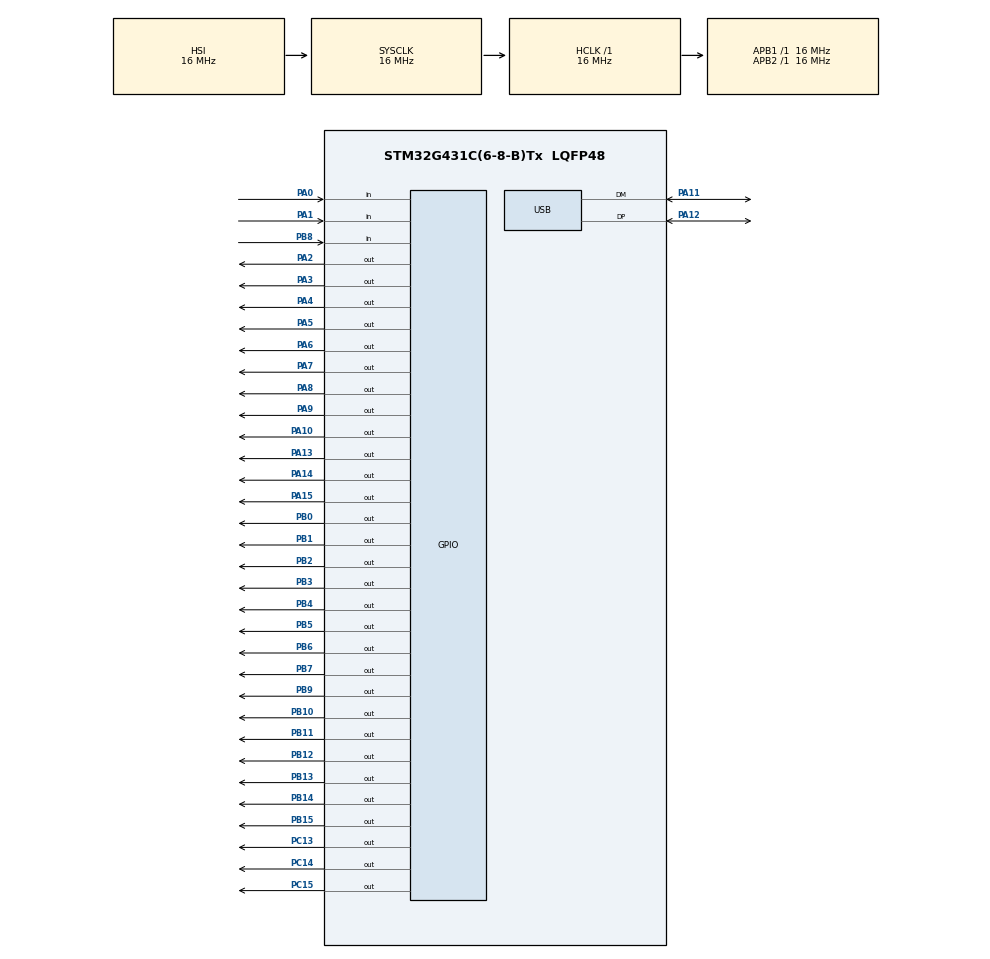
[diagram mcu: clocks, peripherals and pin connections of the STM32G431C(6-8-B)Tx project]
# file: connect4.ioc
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Mcu.Family=STM32G4
Mcu.Name=STM32G431C(6-8-B)Tx
Mcu.Package=LQFP48
NVIC.PriorityGroup=NVIC_PRIORITYGROUP_4
PA0.Signal=GPIO_Input
PA1.Signal=GPIO_Input
PA10.Signal=GPIO_Output
PA11.Mode=Device
PA11.Signal=USB_DM
PA12.Mode=Device
PA12.Signal=USB_DP
PA13.Signal=GPIO_Output
PA14.Signal=GPIO_Output
PA15.Signal=GPIO_Output
PA2.Signal=GPIO_Output
PA3.Signal=GPIO_Output
PA4.Signal=GPIO_Output
PA5.Signal=GPIO_Output
PA6.Signal=GPIO_Output
PA7.Signal=GPIO_Output
PA8.Signal=GPIO_Output
PA9.Signal=GPIO_Output
PB0.Signal=GPIO_Output
PB1.Signal=GPIO_Output
PB10.Signal=GPIO_Output
PB11.Signal=GPIO_Output
PB12.Signal=GPIO_Output
PB13.Signal=GPIO_Output
PB14.Signal=GPIO_Output
PB15.Signal=GPIO_Output
PB2.Signal=GPIO_Output
PB3.Signal=GPIO_Output
PB4.Signal=GPIO_Output
PB5.Signal=GPIO_Output
PB6.Signal=GPIO_Output
PB7.Signal=GPIO_Output
PB8-BOOT0.Signal=GPIO_Input
PB9.Signal=GPIO_Output
PC13.Signal=GPIO_Output
PC14-OSC32_IN.Signal=GPIO_Output
PC15-OSC32_OUT.Signal=GPIO_Output
ProjectManager.HeapSize=0x200
ProjectManager.StackSize=0x400
ProjectManager.TargetToolchain=STM32CubeIDE
RCC.AHBFreq_Value=16000000
RCC.APB1Freq_Value=16000000
RCC.APB1TimFreq_Value=16000000
RCC.APB2Freq_Value=16000000
RCC.APB2TimFreq_Value=16000000
RCC.CortexFreq_Value=16000000
RCC.EXTERNAL_CLOCK_VALUE=12288000
RCC.HCLKFreq_Value=16000000
RCC.HSE_VALUE=8000000
RCC.HSI48_VALUE=48000000
RCC.HSI_VALUE=16000000
RCC.LSE_VALUE=32768
RCC.PLLN=12
RCC.PLLQ=RCC_PLLQ_DIV4
RCC.SYSCLKFreq_VALUE=16000000
RCC.USBFreq_Value=48000000
RCC.VCOOutputFreq_Value=192000000
VP_SYS_VS_DBSignals.Mode=DisableDeadBatterySignals
board=custom

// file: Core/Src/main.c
/* USER CODE BEGIN Header */
/**
  ******************************************************************************
  * @file           : main.c
  * @brief          : Main program body
  ******************************************************************************
  * @attention
  *
  * Copyright (c) 2025 STMicroelectronics.
  * All rights reserved.
  *
  * This software is licensed under terms that can be found in the LICENSE file
  * in the root directory of this software component.
  * If no LICENSE file comes with this software, it is provided AS-IS.
  *
  ******************************************************************************
  */
/* USER CODE END Header */
#include "main.h"
#include <stdint.h>
#include <stdbool.h>

/* USER CODE BEGIN Includes */
#include "core_cm4.h"
/* USER CODE END Includes */

PCD_HandleTypeDef hpcd_USB_FS;

/* USER CODE BEGIN PV */
#define LED_ROWS			6
#define LED_COLS			7
#define LED_COUNT			(LED_ROWS * LED_COLS)

typedef enum _led_mode {
	LED_OFF,
	LED_PLAYER1,
	LED_PLAYER2,
	LED_BOTH
} ledMode_t;

typedef enum _game_state {
	GAME_INIT,
	GAME_PLAYER1,
	GAME_PLAYER2,
	GAME_WIN_PLAYER1,
	GAME_WIN_PLAYER2,
	GAME_DRAW
} gameState_t;

typedef struct _col_driver {
	GPIO_TypeDef* dat2Port;
	GPIO_TypeDef* dat1Port;
	GPIO_TypeDef* clk2Port;
	GPIO_TypeDef* clk1Port;
	uint16_t dat1Pin;
	uint16_t dat2Pin;
	uint16_t clk1Pin;
	uint16_t clk2Pin;
} colDriver_t;

typedef struct _pos {
	uint8_t col;
	uint8_t row;
} pos_t;

#define HUMAN_PLAYER		LED_PLAYER1
#define COMPUTER_PLAYER		LED_PLAYER2

ledMode_t leds[LED_COUNT] = {0};
colDriver_t column_drivers[LED_COLS] = {0};

pos_t winning_pieces[7];
uint8_t winning_pieces_count = 0;

const int8_t ROW_DELTA[] = {-1, -1, 0, 1};
const int8_t COL_DELTA[] = {0, 1, 1, 1};
/* USER CODE END PV */

void SystemClock_Config(void);
static void MX_GPIO_Init(void);
static void MX_USB_PCD_Init(void);

/* USER CODE BEGIN 0 */

static void driver_init()
{
	// Column 1
	// Ports
	column_drivers[0].clk1Port = GPIOA;
	column_drivers[0].dat1Port = GPIOA;
	column_drivers[0].clk2Port = GPIOA;
	column_drivers[0].dat2Port = GPIOA;
	// Pins
	column_drivers[0].clk1Pin = GPIO_PIN_4;
	column_drivers[0].dat1Pin = GPIO_PIN_5;
	column_drivers[0].clk2Pin = GPIO_PIN_6;
	column_drivers[0].dat2Pin = GPIO_PIN_7;

	// Column 2
	// Ports
	column_drivers[1].clk1Port = GPIOB;
	column_drivers[1].dat1Port = GPIOB;
	column_drivers[1].clk2Port = GPIOB;
	column_drivers[1].dat2Port = GPIOB;
	// Pins
	column_drivers[1].clk1Pin = GPIO_PIN_0;
	column_drivers[1].dat1Pin = GPIO_PIN_1;
	column_drivers[1].clk2Pin = GPIO_PIN_2;
	column_drivers[1].dat2Pin = GPIO_PIN_10;

	// Column 3
	// Ports
	column_drivers[2].clk1Port = GPIOB;
	column_drivers[2].dat1Port = GPIOB;
	column_drivers[2].clk2Port = GPIOB;
	column_drivers[2].dat2Port = GPIOB;
	// Pins
	column_drivers[2].clk1Pin = GPIO_PIN_11;
	column_drivers[2].dat1Pin = GPIO_PIN_12;
	column_drivers[2].clk2Pin = GPIO_PIN_13;
	column_drivers[2].dat2Pin = GPIO_PIN_14;

	// Column 4
	// Ports
	column_drivers[3].clk1Port = GPIOB;
	column_drivers[3].dat1Port = GPIOA;
	column_drivers[3].clk2Port = GPIOA;
	column_drivers[3].dat2Port = GPIOA;
	// Pins
	column_drivers[3].clk1Pin = GPIO_PIN_15;
	column_drivers[3].dat1Pin = GPIO_PIN_8;
	column_drivers[3].clk2Pin = GPIO_PIN_9;
	column_drivers[3].dat2Pin = GPIO_PIN_10;

	// Column 5
	// Ports
	column_drivers[4].clk1Port = GPIOA;
	column_drivers[4].dat1Port = GPIOA;
	column_drivers[4].clk2Port = GPIOA;
	column_drivers[4].dat2Port = GPIOB;
	// Pins
	column_drivers[4].clk1Pin = GPIO_PIN_13;
	column_drivers[4].dat1Pin = GPIO_PIN_14;
	column_drivers[4].clk2Pin = GPIO_PIN_15;
	column_drivers[4].dat2Pin = GPIO_PIN_3;

	// Column 6
	// Ports
	column_drivers[5].clk1Port = GPIOB;
	column_drivers[5].dat1Port = GPIOB;
	column_drivers[5].clk2Port = GPIOB;
	column_drivers[5].dat2Port = GPIOB;
	// Pins
	column_drivers[5].clk1Pin = GPIO_PIN_4;
	column_drivers[5].dat1Pin = GPIO_PIN_5;
	column_drivers[5].clk2Pin = GPIO_PIN_6;
	column_drivers[5].dat2Pin = GPIO_PIN_7;

	// Column 7
	// Ports
	column_drivers[6].clk1Port = GPIOB;
	column_drivers[6].dat1Port = GPIOC;
	column_drivers[6].clk2Port = GPIOC;
	column_drivers[6].dat2Port = GPIOC;
	// Pins
	column_drivers[6].clk1Pin = GPIO_PIN_9;
	column_drivers[6].dat1Pin = GPIO_PIN_13;
	column_drivers[6].clk2Pin = GPIO_PIN_14;
	column_drivers[6].dat2Pin = GPIO_PIN_15;
//
//	// Set all clocks to HIGH
//	for (uint8_t col = 0; col < LED_COLS; col++) {
//		HAL_GPIO_TogglePin(column_drivers[col].clk1Port, column_drivers[col].clk1Pin);
//		HAL_GPIO_TogglePin(column_drivers[col].clk2Port, column_drivers[col].clk2Pin);
//	}

	// Set the ENABLE line to high
	HAL_GPIO_WritePin(GPIOA, GPIO_PIN_3, GPIO_PIN_SET);
}

static void output_col(uint8_t col_no)
{
	colDriver_t driver = column_drivers[col_no];

	uint8_t row = 0;

	for (; row < LED_ROWS; row++) {
		// Set the data then pulse the clock
		ledMode_t p1stat = leds[row * LED_COLS + col_no];
		ledMode_t p2stat = leds[((LED_ROWS - 1) - row) * LED_COLS + col_no];

		// No output for either
		HAL_GPIO_WritePin(driver.dat1Port, driver.dat1Pin, p1stat == LED_PLAYER1);
		HAL_GPIO_WritePin(driver.dat2Port, driver.dat2Pin, p2stat == LED_PLAYER2);

		HAL_GPIO_TogglePin(driver.clk1Port, driver.clk1Pin);
		HAL_GPIO_TogglePin(driver.clk2Port, driver.clk2Pin);

		HAL_GPIO_TogglePin(driver.clk1Port, driver.clk1Pin);
		HAL_GPIO_TogglePin(driver.clk2Port, driver.clk2Pin);
	}

	while (row++ <= 8) {

		HAL_GPIO_TogglePin(driver.clk1Port, driver.clk1Pin);
		HAL_GPIO_TogglePin(driver.clk2Port, driver.clk2Pin);

		HAL_GPIO_TogglePin(driver.clk1Port, driver.clk1Pin);
		HAL_GPIO_TogglePin(driver.clk2Port, driver.clk2Pin);
	}
}

void place_piece(ledMode_t player, uint8_t col_no)
{
	if (col_no >= LED_COLS) {
		return;
	}

	// Start at row 0 and increment until there is already a piece
	uint8_t row = 0;

	for (; row < LED_ROWS; row++) {
		ledMode_t state = leds[row * LED_COLS + col_no];

		if (state != LED_OFF) {
			break;
		} else if (row > 0) {
			// Remove previous LED
			leds[(row - 1) * LED_COLS + col_no] = LED_OFF;
		}

		leds[row * LED_COLS + col_no] = player;

		// Update column
		output_col(col_no);

		HAL_Delay(500);
	}
}

int8_t get_next_row(uint8_t col)
{
	int8_t row = (LED_ROWS - 1);

	for (; row >= 0; row--) {
		if (leds[row * LED_COLS + col] == LED_OFF) {
			break;
		}
	}
	return row;
}

void set_winning_pieces(ledMode_t player, uint8_t col) {
	// We need to find the direction of the winning pieces
	uint8_t max = 0;
	uint8_t dir_pos = 0;

	int8_t row = get_next_row(col);

	if (row < 0) {
		row = 0;
	} else if (row < (LED_ROWS - 1)) {
		row++;
	}

	for (uint8_t dir = 0; dir < sizeof(ROW_DELTA); dir++) {
		int8_t dRow = ROW_DELTA[dir];
		int8_t dCol = COL_DELTA[dir];

		int8_t currRow = row + dRow;
		int8_t currCol = col + dCol;

		// Loop until last matching piece
		while ((currRow < LED_ROWS) && (currRow >= 0) &&
			   (currCol < LED_COLS) && (currCol >= 0)) {
			if (leds[currRow * LED_COLS + currCol] != player) {
				break;
			}

			currRow += dRow;
			currCol += dCol;
		}

		// Decrease currRow & currCol to last known position
		currRow -= dRow;
		currCol -= dCol;

		dRow = -dRow;
		dCol = -dCol;

		uint8_t continuous = 0;

		while ((currRow < LED_ROWS) && (currRow >= 0) &&
			   (currCol < LED_COLS) && (currCol >= 0)) {

			if (leds[currRow * LED_COLS + currCol] != player) {
				break;
			}

			continuous++;

			currRow += dRow;
			currCol += dCol;
		}

		if (continuous > max) {
			max = continuous;
			dir_pos = dir;
		}
	}

	int8_t dRow = ROW_DELTA[dir_pos];
	int8_t dCol = COL_DELTA[dir_pos];

	int8_t currRow = row + dRow;
	int8_t currCol = col + dCol;

	// Loop until last matching piece
	while ((currRow < LED_ROWS) && (currRow >= 0) &&
		   (currCol < LED_COLS) && (currCol >= 0)) {
		if (leds[currRow * LED_COLS + currCol] != player) {
			break;
		}

		currRow += dRow;
		currCol += dCol;
	}

	// Decrease currRow & currCol to last known position
	currRow -= dRow;
	currCol -= dCol;

	dRow = -dRow;
	dCol = -dCol;

	winning_pieces_count = 0;

	while ((currRow < LED_ROWS) && (currRow >= 0) &&
		   (currCol < LED_COLS) && (currCol >= 0)) {

		if (leds[currRow * LED_COLS + currCol] != player) {
			break;
		}

		winning_pieces[winning_pieces_count].col = currCol;
		winning_pieces[winning_pieces_count++].row = currRow;

		currRow += dRow;
		currCol += dCol;
	}
}

uint8_t eval_position(ledMode_t player, uint8_t col, uint8_t row) {
	ledMode_t opposite = (player == LED_PLAYER1) ? LED_PLAYER2 : LED_PLAYER1;

	uint8_t max = 0;

	for (uint8_t dir = 0; dir < sizeof(ROW_DELTA); dir++) {
		int8_t dRow = ROW_DELTA[dir];
		int8_t dCol = COL_DELTA[dir];

		int8_t currRow = row + dRow;
		int8_t currCol = col + dCol;

		// Loop until last matching piece
		while ((currRow < LED_ROWS) && (currRow >= 0) &&
			   (currCol < LED_COLS) && (currCol >= 0)) {
			if (leds[currRow * LED_COLS + currCol] == opposite) {
				break;
			}

			currRow += dRow;
			currCol += dCol;
		}

		// Decrease currRow & currCol to last known position
		currRow -=dRow;
		currCol -= dCol;

		dRow = -dRow;
		dCol = -dCol;

		uint8_t availCount = 0;
		uint8_t totalCount = 0;
		uint8_t continuous = 0;
		uint8_t maxContinuous = 0;

		while ((currRow < LED_ROWS) && (currRow >= 0) &&
			   (currCol < LED_COLS) && (currCol >= 0)) {

			ledMode_t mode = leds[currRow * LED_COLS + currCol];

			if (mode == opposite) {
				break;
			}

			totalCount++;

			if ((mode == player) || ((currRow == row) && (currCol == col))) {
				availCount++;
				if (++continuous > maxContinuous) {
					maxContinuous = continuous;
				}
			} else {
				// We need to check if this move is currently valid! Add an extra point if it is valid
				if (get_next_row(currCol) == currRow) {
					availCount++;
				}
				continuous = 0;
			}

			currRow += dRow;
			currCol += dCol;
		}

		availCount += (maxContinuous << 4);

		if ((totalCount >= 4) && (availCount > max)) {
			max = availCount;
		}
	}

	return max;
}

uint8_t eval_move(ledMode_t player, uint8_t col, uint8_t row)
{
	if ((col >= LED_COLS) || (row >= LED_ROWS)) {
		return 0;
	}

	ledMode_t opposition;

	if (player == LED_PLAYER1) {
		opposition = LED_PLAYER2;
	} else if (player == LED_PLAYER2) {
		opposition = LED_PLAYER1;
	} else {
		return 0;
	}

	uint8_t myScore = eval_position(player, col, row);
	uint8_t opScore = eval_position(opposition, col, row);

	if ((myScore >> 4) >= 4) {
		return 0xFF;
	} else if ((opScore >> 4) >= 4) {
		return 0xFE;
	} else if ((opScore >> 4) >= 2) {
		return myScore + opScore / 2;
	}

	return myScore;
}

uint8_t get_next_move()
{
	uint8_t max = 0;
	uint8_t sel_col = 3;

	for (uint8_t col = 0; col < LED_COLS; col++) {
		int8_t row = get_next_row(col);
		if (row < 0) {
			continue;
		}
		uint8_t val = eval_move(COMPUTER_PLAYER, col, row);
		if (val > max) {
			max = val;
			sel_col = col;
		} else if (val == max) {
			// Select the piece closest to the centre
			uint8_t centre = LED_COLS / 2;
			int8_t colDiff = centre - col;
			if (colDiff < 0) {
				colDiff = -colDiff;
			}
			int8_t selDiff = centre - sel_col;
			if (selDiff < 0) {
				selDiff = -selDiff;
			}
			if (colDiff < selDiff) {
				sel_col = col;
			}
		}
	}

	return sel_col;
}

bool has_won(uint8_t col, ledMode_t player)
{
	if (col >= LED_COLS) {
		return false;
	}

	int8_t row = get_next_row(col);

	if (row < 0) {
		row = 0;
	} else if (row < (LED_ROWS - 1)) {
		row++;
	}

	return (eval_position(player, col, row) >> 4) >= 4;
}

int8_t get_cursor()
{
	int8_t valid_col = -1;
	for (uint8_t col = 0; col < LED_COLS; col++) {
		// Check if the column has a valid number
		if (get_next_row(col) >= 0) {
			// Valid - choose if it is closer to the centre
			uint8_t centre = LED_COLS / 2;
			int8_t colDiff = centre - col;
			if (colDiff < 0) {
				colDiff = -colDiff;
			}
			int8_t selDiff = centre - valid_col;
			if (selDiff < 0) {
				selDiff = -selDiff;
			}

			if (colDiff == 0) {
				return col;
			} else if (colDiff < selDiff) {
				valid_col = col;
			}
		}
	}

	return valid_col;
}
/* USER CODE END 0 */

int main(void)
{

  /* MCU Configuration--------------------------------------------------------*/

  /* Reset of all peripherals, Initializes the Flash interface and the Systick. */
  HAL_Init();

  /* Configure the system clock */
  SystemClock_Config();

  /* Initialize all configured peripherals */
  MX_GPIO_Init();

  //  MX_USB_PCD_Init();
  /* USER CODE BEGIN 2 */

  driver_init();

//  colDriver_t driver = column_drivers[0];

  // Set the data
//  HAL_GPIO_WritePin(driver.dat1Port, driver.dat1Pin, 1);
//
//  HAL_Delay(1);
////  for (uint16_t i = 0; i < 1000; i++) {
////  	  NOP();
////  }
//
//  for (uint8_t i = 0; i < 17; i++) {
//	  // Toggle the clock
//	    HAL_GPIO_TogglePin(driver.clk1Port, driver.clk1Pin);
//	  //  for (uint16_t i = 0; i < 1000; i++) {
//	  //	  NOP();
//	  //  }
//	    HAL_Delay(1);
//  }

//  place_piece(LED_PLAYER1, 0);
//  place_piece(LED_PLAYER2, 0);
//  place_piece(LED_PLAYER1, 1);
//  place_piece(LED_PLAYER2, 1);
//  place_piece(LED_PLAYER1, 2);
//  place_piece(LED_PLAYER2, 2);
//  place_piece(LED_PLAYER1, 3);
//  place_piece(LED_PLAYER2, 3);
//  place_piece(LED_PLAYER1, 4);
//  place_piece(LED_PLAYER2, 4);
//  place_piece(LED_PLAYER1, 5);
//  place_piece(LED_PLAYER2, 5);
//  place_piece(LED_PLAYER1, 6);
//  place_piece(LED_PLAYER2, 6);

  uint32_t ticks = 0;

  uint8_t leftButtonCount = 0;
  uint8_t rightButtonCount = 0;
  uint8_t selectButtonCount = 0;

  gameState_t state = GAME_PLAYER1;

  int8_t blink_col = 3;
  int8_t prev_blink_col = 3;

  bool blink_on = true;

  /* USER CODE END 2 */

  /* Infinite loop */
  /* USER CODE BEGIN WHILE */

  while (ticks < (UINT32_MAX - 10))
  {
    /* USER CODE END WHILE */
	  GPIO_PinState leftButton = HAL_GPIO_ReadPin(GPIOA, GPIO_PIN_1);
	  GPIO_PinState rightButton = HAL_GPIO_ReadPin(GPIOA, GPIO_PIN_0);
	  GPIO_PinState selectButton = HAL_GPIO_ReadPin(GPIOB, GPIO_PIN_8);

	  if (leftButton == GPIO_PIN_SET) {
		  if (++leftButtonCount >= 2) {
			  leftButtonCount = 2;

			  leftButton = GPIO_PIN_RESET;
			  rightButton = GPIO_PIN_RESET;
			  selectButton = GPIO_PIN_RESET;
		  }
	  } else if (leftButtonCount > 0) {
		  if ((state == GAME_PLAYER1) && (--leftButtonCount == 0)) {
			  while (--blink_col >= 0) {
				  if (leds[blink_col] == LED_OFF) {
					  break;
				  }
			  }
			  if (blink_col < 0) {
				  blink_col = prev_blink_col;
			  } else {
				  // We have changed the blink column
				  // Clear previous blink
				  leds[prev_blink_col] = LED_OFF;
				  output_col(prev_blink_col);
				  prev_blink_col = blink_col;
			  }
		  }
	  }

	  if (rightButton == GPIO_PIN_SET) {
		  if (++rightButtonCount >= 2) {
			  rightButtonCount = 2;

			  leftButton = GPIO_PIN_RESET;
			  rightButton = GPIO_PIN_RESET;
			  selectButton = GPIO_PIN_RESET;
		  }
	  } else if (rightButtonCount > 0) {
		  if ((state == GAME_PLAYER1) && (--rightButtonCount == 0)) {
			  while (++blink_col < LED_COLS) {
				  if (leds[blink_col] == LED_OFF) {
					  break;
				  }
			  }
			  if (blink_col >= LED_COLS) {
				  blink_col = prev_blink_col;
			  } else {
				  // Clear previous blink
				  leds[prev_blink_col] = LED_OFF;
				  output_col(prev_blink_col);
				  prev_blink_col = blink_col;
			  }
		  }
	  }
	  if (selectButton == GPIO_PIN_SET) {

		  if (++selectButtonCount >= 2) {
			  selectButtonCount = 2;

			  leftButton = GPIO_PIN_RESET;
			  rightButton = GPIO_PIN_RESET;
			  selectButton = GPIO_PIN_RESET;
		  }
	  } else if (selectButtonCount > 0) {
		  if (--selectButtonCount == 0) {
			  if (state == GAME_WIN_PLAYER1 || state == GAME_WIN_PLAYER2) {
				  // Go back to start state
				  blink_col = 3;
				  prev_blink_col = 3;
				  for (uint8_t i = 0; i < LED_COUNT; i++) {
					  leds[i] = LED_OFF;
				  }
				  for (uint8_t i = 0; i < LED_COLS; i++) {
					  output_col(i);
				  }
				  state = GAME_PLAYER1;
				  winning_pieces_count = 0;
			  } else {
				  // Remove the blinking!!
				  leds[blink_col] = LED_OFF;
				  // Select the current column
				  place_piece(HUMAN_PLAYER, blink_col);

				  // Evaluate if the user has won
				  if (has_won(blink_col, HUMAN_PLAYER)) {
					  // We won
					  state = GAME_WIN_PLAYER1;
					  set_winning_pieces(HUMAN_PLAYER, blink_col);
				  } else {
					  // This is where the "computer" should make its move
					  uint8_t col = get_next_move();

					  place_piece(COMPUTER_PLAYER, col);

					  // Evaluate if the computer has won
					  if (has_won(col, COMPUTER_PLAYER)) {
						  // Computer has won
						  state = GAME_WIN_PLAYER2;
						  set_winning_pieces(COMPUTER_PLAYER, col);
					  } else {
						  // Check where the 'cursor' should be
						  int8_t cursor_pos = get_cursor();

						  if (cursor_pos < 0) {
							  // We have a tie
							  // Set the STAT LED
//							  HAL_GPIO_WritePin(GPIOB)	``
						  } else {
							  blink_col = cursor_pos;
							  prev_blink_col = cursor_pos;
						  }
					  }
				  }
			  }
		  }
	  }

	  if (ticks % 5 == 0) {
		  // Every 500ms
		  if (state == GAME_PLAYER1) {
			  // Blink on position
			  leds[blink_col] = blink_on * HUMAN_PLAYER;
			  // Output the blink
			  output_col(blink_col);
		  } else if ((state == GAME_WIN_PLAYER1) || (state == GAME_WIN_PLAYER2)) {
			  ledMode_t mode = (state == GAME_WIN_PLAYER1) ? LED_PLAYER1 : LED_PLAYER2;
			  // Flash the winning pieces
			  uint8_t refresh_bitmask = 0x00;
			  for (uint8_t i = 0; i < winning_pieces_count; i++) {
				  leds[winning_pieces[i].row * LED_COLS + winning_pieces[i].col] = mode * blink_on;
				  refresh_bitmask |= 1 << winning_pieces[i].col;
			  }

			  for (uint8_t i = 0; i < LED_COLS; i++) {
				  if (refresh_bitmask & (1 << i)) {
					  output_col(i);
				  }
			  }
		  }
		  // Change blink
		  blink_on = !blink_on;
	  }

	  HAL_Delay(100);
	  ticks++;
  }
}

void SystemClock_Config(void)
{
  RCC_OscInitTypeDef RCC_OscInitStruct = {0};
  RCC_ClkInitTypeDef RCC_ClkInitStruct = {0};

  /** Configure the main internal regulator output voltage
  */
  HAL_PWREx_ControlVoltageScaling(PWR_REGULATOR_VOLTAGE_SCALE1);

  /** Initializes the RCC Oscillators according to the specified parameters
  * in the RCC_OscInitTypeDef structure.
  */
  RCC_OscInitStruct.OscillatorType = RCC_OSCILLATORTYPE_HSI;
  RCC_OscInitStruct.HSIState = RCC_HSI_ON;
  RCC_OscInitStruct.HSICalibrationValue = RCC_HSICALIBRATION_DEFAULT;
  RCC_OscInitStruct.PLL.PLLState = RCC_PLL_ON;
  RCC_OscInitStruct.PLL.PLLSource = RCC_PLLSOURCE_HSI;
  RCC_OscInitStruct.PLL.PLLM = RCC_PLLM_DIV1;
  RCC_OscInitStruct.PLL.PLLN = 12;
  RCC_OscInitStruct.PLL.PLLP = RCC_PLLP_DIV2;
  RCC_OscInitStruct.PLL.PLLQ = RCC_PLLQ_DIV4;
  RCC_OscInitStruct.PLL.PLLR = RCC_PLLR_DIV2;
  if (HAL_RCC_OscConfig(&RCC_OscInitStruct) != HAL_OK)
  {
    Error_Handler();
  }

  /** Initializes the CPU, AHB and APB buses clocks
  */
  RCC_ClkInitStruct.ClockType = RCC_CLOCKTYPE_HCLK|RCC_CLOCKTYPE_SYSCLK
                              |RCC_CLOCKTYPE_PCLK1|RCC_CLOCKTYPE_PCLK2;
  RCC_ClkInitStruct.SYSCLKSource = RCC_SYSCLKSOURCE_HSI;
  RCC_ClkInitStruct.AHBCLKDivider = RCC_SYSCLK_DIV1;
  RCC_ClkInitStruct.APB1CLKDivider = RCC_HCLK_DIV1;
  RCC_ClkInitStruct.APB2CLKDivider = RCC_HCLK_DIV1;

  if (HAL_RCC_ClockConfig(&RCC_ClkInitStruct, FLASH_LATENCY_0) != HAL_OK)
  {
    Error_Handler();
  }
}

static void MX_USB_PCD_Init(void)
{

  hpcd_USB_FS.Instance = USB;
  hpcd_USB_FS.Init.dev_endpoints = 8;
  hpcd_USB_FS.Init.speed = PCD_SPEED_FULL;
  hpcd_USB_FS.Init.phy_itface = PCD_PHY_EMBEDDED;
  hpcd_USB_FS.Init.Sof_enable = DISABLE;
  hpcd_USB_FS.Init.low_power_enable = DISABLE;
  hpcd_USB_FS.Init.lpm_enable = DISABLE;
  hpcd_USB_FS.Init.battery_charging_enable = DISABLE;
  if (HAL_PCD_Init(&hpcd_USB_FS) != HAL_OK)
  {
    Error_Handler();
  }

}

static void MX_GPIO_Init(void)
{
  GPIO_InitTypeDef GPIO_InitStruct = {0};

  /* GPIO Ports Clock Enable */
  __HAL_RCC_GPIOC_CLK_ENABLE();
  __HAL_RCC_GPIOA_CLK_ENABLE();
  __HAL_RCC_GPIOB_CLK_ENABLE();

  /*Configure GPIO pin Output Level */
  HAL_GPIO_WritePin(GPIOC, GPIO_PIN_13|GPIO_PIN_14|GPIO_PIN_15, GPIO_PIN_RESET);

  /*Configure GPIO pin Output Level */
  HAL_GPIO_WritePin(GPIOA, GPIO_PIN_2|GPIO_PIN_3|GPIO_PIN_4|GPIO_PIN_5
                          |GPIO_PIN_6|GPIO_PIN_7|GPIO_PIN_8|GPIO_PIN_9
                          |GPIO_PIN_10|GPIO_PIN_13|GPIO_PIN_14|GPIO_PIN_15, GPIO_PIN_RESET);

  /*Configure GPIO pin Output Level */
  HAL_GPIO_WritePin(GPIOB, GPIO_PIN_0|GPIO_PIN_1|GPIO_PIN_2|GPIO_PIN_10
                          |GPIO_PIN_11|GPIO_PIN_12|GPIO_PIN_13|GPIO_PIN_14
                          |GPIO_PIN_15|GPIO_PIN_3|GPIO_PIN_4|GPIO_PIN_5
                          |GPIO_PIN_6|GPIO_PIN_7|GPIO_PIN_9, GPIO_PIN_RESET);

  /*Configure GPIO pins : PC13 PC14 PC15 */
  GPIO_InitStruct.Pin = GPIO_PIN_13|GPIO_PIN_14|GPIO_PIN_15;
  GPIO_InitStruct.Mode = GPIO_MODE_OUTPUT_PP;
  GPIO_InitStruct.Pull = GPIO_NOPULL;
  GPIO_InitStruct.Speed = GPIO_SPEED_FREQ_LOW;
  HAL_GPIO_Init(GPIOC, &GPIO_InitStruct);

  /*Configure GPIO pins : PA0 PA1 */
  GPIO_InitStruct.Pin = GPIO_PIN_0|GPIO_PIN_1;
  GPIO_InitStruct.Mode = GPIO_MODE_INPUT;
  GPIO_InitStruct.Pull = GPIO_NOPULL;
  HAL_GPIO_Init(GPIOA, &GPIO_InitStruct);

  /*Configure GPIO pins : PA2 PA3 PA4 PA5
                           PA6 PA7 PA8 PA9
                           PA10 PA13 PA14 PA15 */
  GPIO_InitStruct.Pin = GPIO_PIN_2|GPIO_PIN_3|GPIO_PIN_4|GPIO_PIN_5
                          |GPIO_PIN_6|GPIO_PIN_7|GPIO_PIN_8|GPIO_PIN_9
                          |GPIO_PIN_10|GPIO_PIN_13|GPIO_PIN_14|GPIO_PIN_15;
  GPIO_InitStruct.Mode = GPIO_MODE_OUTPUT_PP;
  GPIO_InitStruct.Pull = GPIO_NOPULL;
  GPIO_InitStruct.Speed = GPIO_SPEED_FREQ_LOW;
  HAL_GPIO_Init(GPIOA, &GPIO_InitStruct);

  /*Configure GPIO pins : PB0 PB1 PB2 PB10
                           PB11 PB12 PB13 PB14
                           PB15 PB3 PB4 PB5
                           PB6 PB7 PB9 */
  GPIO_InitStruct.Pin = GPIO_PIN_0|GPIO_PIN_1|GPIO_PIN_2|GPIO_PIN_10
                          |GPIO_PIN_11|GPIO_PIN_12|GPIO_PIN_13|GPIO_PIN_14
                          |GPIO_PIN_15|GPIO_PIN_3|GPIO_PIN_4|GPIO_PIN_5
                          |GPIO_PIN_6|GPIO_PIN_7|GPIO_PIN_9;
  GPIO_InitStruct.Mode = GPIO_MODE_OUTPUT_PP;
  GPIO_InitStruct.Pull = GPIO_NOPULL;
  GPIO_InitStruct.Speed = GPIO_SPEED_FREQ_LOW;
  HAL_GPIO_Init(GPIOB, &GPIO_InitStruct);

  /*Configure GPIO pin : PB8 */
  GPIO_InitStruct.Pin = GPIO_PIN_8;
  GPIO_InitStruct.Mode = GPIO_MODE_INPUT;
  GPIO_InitStruct.Pull = GPIO_NOPULL;
  HAL_GPIO_Init(GPIOB, &GPIO_InitStruct);

}

void Error_Handler(void)
{
  __disable_irq();
  while (1)
  {
  }
}
